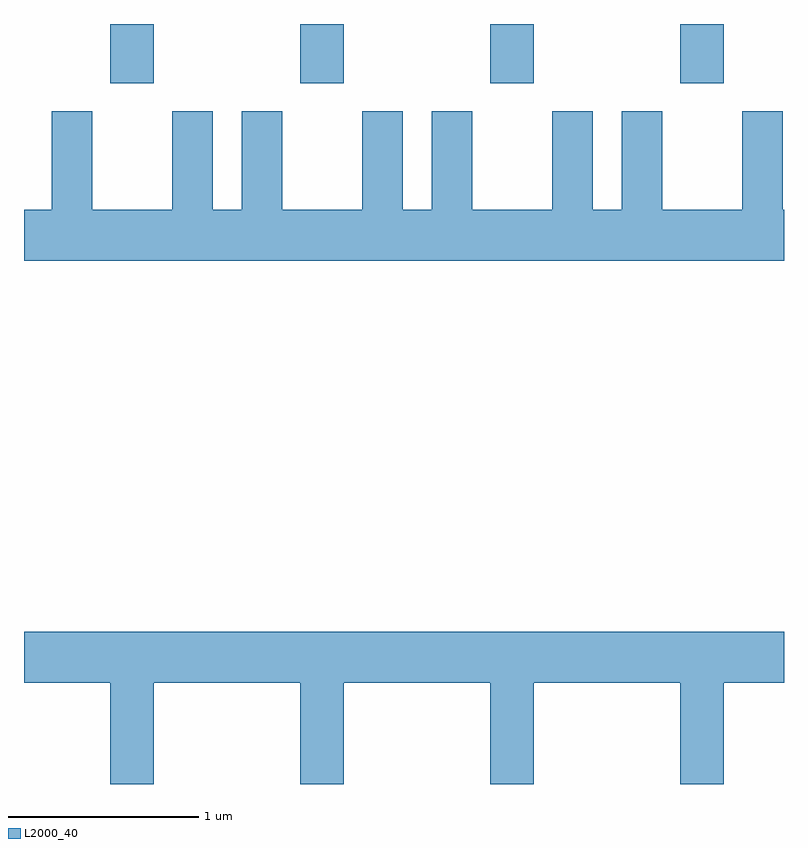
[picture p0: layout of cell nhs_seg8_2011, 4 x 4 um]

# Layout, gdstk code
import gdstk
lib = gdstk.Library(unit=1e-6, precision=1e-09)
def R(c, l, rs):  # rectangles x0, y0, x1, y1
    for r in rs: c.add(gdstk.rectangle(r[:2], r[2:], *l))
def A(c, l, x, y, w, h, nx, ny, dx, dy):  # array of equal rectangles
    R(c, l, [(x+i*dx, y+j*dy, x+i*dx+w, y+j*dy+h) for i in range(nx) for j in range(ny)])
def P(c, l, *ps):  # polygons
    for p in ps: c.add(gdstk.Polygon(p, *l))
L2000_40 = (2000, 40)

nhs_seg8_2011 = lib.new_cell('nhs_seg8_2011')
A(nhs_seg8_2011, L2000_40, 246.066, 1824.031, 0.228, 0.311, 4, 1, 1, 0)
P(nhs_seg8_2011, L2000_40, [(249.611,1823.364),(249.604,1823.364),(249.604,1823.884),(249.391,1823.884),(249.391,1823.364),(248.969,1823.364),(248.969,1823.884),(248.756,1823.884),(248.756,1823.364),(248.604,1823.364),(248.604,1823.884),(248.391,1823.884),(248.391,1823.364),(247.969,1823.364),(247.969,1823.884),(247.756,1823.884),(247.756,1823.364),(247.604,1823.364),(247.604,1823.884),(247.391,1823.884),(247.391,1823.364),(246.969,1823.364),(246.969,1823.884),(246.756,1823.884),(246.756,1823.364),(246.604,1823.364),(246.604,1823.884),(246.391,1823.884),(246.391,1823.364),(245.969,1823.364),(245.969,1823.884),(245.756,1823.884),(245.756,1823.364),(245.611,1823.364),(245.611,1823.096),(249.611,1823.096)],
  [(246.294,1820.876),(247.066,1820.876),(247.066,1820.342),(247.294,1820.342),(247.294,1820.876),(248.066,1820.876),(248.066,1820.342),(248.294,1820.342),(248.294,1820.876),(249.066,1820.876),(249.066,1820.342),(249.294,1820.342),(249.294,1820.876),(249.611,1820.876),(249.611,1821.144),(245.611,1821.144),(245.611,1820.876),(246.066,1820.876),(246.066,1820.342),(246.294,1820.342)])

lib.write_gds('nhs_seg8_2011.gds')
